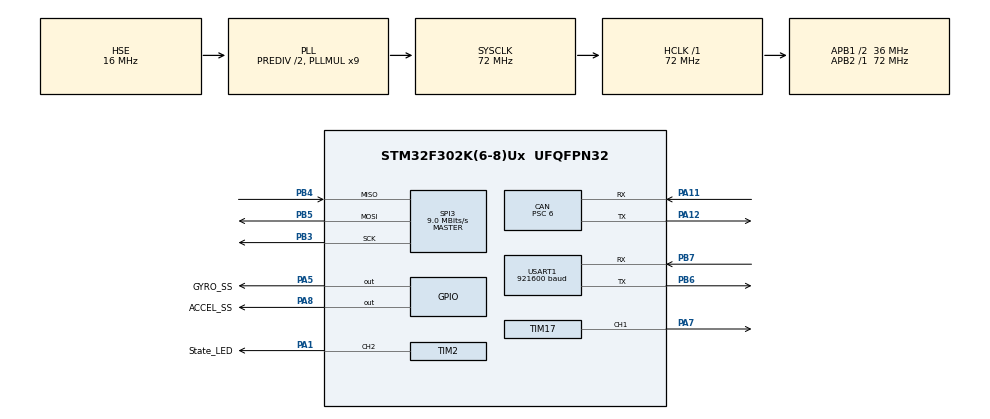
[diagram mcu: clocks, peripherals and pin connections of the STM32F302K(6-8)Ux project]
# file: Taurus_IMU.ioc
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CAN.ABOM=ENABLE
CAN.BS1=CAN_BS1_4TQ
CAN.CalculateTimeQuantum=166.66666666666669
CAN.Prescaler=6
Dma.Request0=USART1_RX
Dma.Request1=USART1_TX
Dma.USART1_RX.0.Direction=DMA_PERIPH_TO_MEMORY
Dma.USART1_RX.0.Instance=DMA1_Channel5
Dma.USART1_RX.0.MemDataAlignment=DMA_MDATAALIGN_BYTE
Dma.USART1_RX.0.MemInc=DMA_MINC_ENABLE
Dma.USART1_RX.0.Mode=DMA_NORMAL
Dma.USART1_RX.0.PeriphDataAlignment=DMA_PDATAALIGN_BYTE
Dma.USART1_RX.0.PeriphInc=DMA_PINC_DISABLE
Dma.USART1_RX.0.Priority=DMA_PRIORITY_LOW
Dma.USART1_TX.1.Direction=DMA_MEMORY_TO_PERIPH
Dma.USART1_TX.1.Instance=DMA1_Channel4
Dma.USART1_TX.1.MemDataAlignment=DMA_MDATAALIGN_BYTE
Dma.USART1_TX.1.MemInc=DMA_MINC_ENABLE
Dma.USART1_TX.1.Mode=DMA_NORMAL
Dma.USART1_TX.1.PeriphDataAlignment=DMA_PDATAALIGN_BYTE
Dma.USART1_TX.1.PeriphInc=DMA_PINC_DISABLE
Dma.USART1_TX.1.Priority=DMA_PRIORITY_LOW
Mcu.Family=STM32F3
Mcu.Name=STM32F302K(6-8)Ux
Mcu.Package=UFQFPN32
NVIC.DMA1_Channel4_IRQn=true\:0\:0\:false\:false\:true\:false\:true
NVIC.DMA1_Channel5_IRQn=true\:0\:0\:false\:false\:true\:false\:true
NVIC.PriorityGroup=NVIC_PRIORITYGROUP_4
NVIC.TIM1_UP_TIM16_IRQn=true\:0\:0\:false\:false\:true\:true\:true
NVIC.TIM6_DAC_IRQn=true\:0\:0\:false\:false\:true\:false\:true
NVIC.TimeBase=TIM6_DAC_IRQn
NVIC.TimeBaseIP=TIM6
NVIC.USART1_IRQn=true\:0\:0\:false\:false\:true\:true\:true
NVIC.USB_HP_CAN_TX_IRQn=true\:0\:0\:false\:false\:true\:true\:true
PA1.GPIO_Label=State_LED
PA1.GPIO_Speed=GPIO_SPEED_FREQ_HIGH
PA1.Signal=S_TIM2_CH2
PA11.Mode=Master
PA11.Signal=CAN_RX
PA12.Mode=Master
PA12.Signal=CAN_TX
PA13.Mode=Serial_Wire
PA13.Signal=SYS_JTMS-SWDIO
PA14.Mode=Serial_Wire
PA14.Signal=SYS_JTCK-SWCLK
PA5.GPIO_Label=GYRO_SS
PA5.GPIO_ModeDefaultOutputPP=GPIO_MODE_OUTPUT_PP
PA5.GPIO_Speed=GPIO_SPEED_FREQ_HIGH
PA5.PinState=GPIO_PIN_SET
PA5.Signal=GPIO_Output
PA7.Signal=S_TIM17_CH1
PA8.GPIO_Label=ACCEL_SS
PA8.GPIO_Speed=GPIO_SPEED_FREQ_HIGH
PA8.PinState=GPIO_PIN_SET
PA8.Signal=GPIO_Output
PB3.Mode=Full_Duplex_Master
PB3.Signal=SPI3_SCK
PB4.Mode=Full_Duplex_Master
PB4.Signal=SPI3_MISO
PB5.Mode=Full_Duplex_Master
PB5.Signal=SPI3_MOSI
PB6.Mode=Asynchronous
PB6.Signal=USART1_TX
PB7.Mode=Asynchronous
PB7.Signal=USART1_RX
PF0-OSC_IN.Mode=HSE-External-Oscillator
PF0-OSC_IN.Signal=RCC_OSC_IN
PF1-OSC_OUT.Mode=HSE-External-Oscillator
PF1-OSC_OUT.Signal=RCC_OSC_OUT
ProjectManager.HeapSize=0x1000
ProjectManager.StackSize=0x600
ProjectManager.TargetToolchain=MDK-ARM V5
RCC.AHBFreq_Value=72000000
RCC.APB1CLKDivider=RCC_HCLK_DIV2
RCC.APB1Freq_Value=36000000
RCC.APB1TimFreq_Value=72000000
RCC.APB2Freq_Value=72000000
RCC.APB2TimFreq_Value=72000000
RCC.CortexFreq_Value=72000000
RCC.HCLKFreq_Value=72000000
RCC.HSE_VALUE=16000000
RCC.HSI_VALUE=8000000
RCC.PLLMUL=RCC_PLL_MUL9
RCC.PLLSourceVirtual=RCC_PLLSOURCE_HSE
RCC.RCC_PLLsource_Clock_Source_FROM_HSE=RCC_HSE_PREDIV_DIV2
RCC.SYSCLKFreq_VALUE=72000000
RCC.SYSCLKSourceVirtual=RCC_SYSCLKSOURCE_PLLCLK
RCC.USBFreq_Value=72000000
SH.S_TIM17_CH1.0=TIM17_CH1,PWM Generation1 CH1
SH.S_TIM2_CH2.0=TIM2_CH2,PWM Generation2 CH2
SPI3.BaudRatePrescaler=SPI_BAUDRATEPRESCALER_4
SPI3.CLKPhase=SPI_PHASE_1EDGE
SPI3.CLKPolarity=SPI_POLARITY_LOW
SPI3.CalculateBaudRate=9.0 MBits/s
SPI3.DataSize=SPI_DATASIZE_16BIT
SPI3.Direction=SPI_DIRECTION_2LINES
SPI3.FirstBit=SPI_FIRSTBIT_MSB
SPI3.Mode=SPI_MODE_MASTER
SPI3.VirtualType=VM_MASTER
TIM1.Period=1000
TIM1.Prescaler=72
TIM16.AutoReloadPreload=TIM_AUTORELOAD_PRELOAD_ENABLE
TIM16.Period=999
TIM16.Prescaler=71
TIM17.Channel=TIM_CHANNEL_1
TIM17.Period=999
TIM17.Prescaler=71
TIM2.Channel-PWM\ Generation2\ CH2=TIM_CHANNEL_2
TIM2.Period=999
TIM2.Prescaler=71
USART1.BaudRate=921600
USART1.VirtualMode-Asynchronous=VM_ASYNC
VP_SYS_VS_tim6.Mode=TIM6
VP_TIM16_VS_ClockSourceINT.Mode=Enable_Timer
VP_TIM17_VS_ClockSourceINT.Mode=Enable_Timer
VP_TIM1_VS_ClockSourceINT.Mode=Internal
VP_TIM2_VS_ClockSourceINT.Mode=Internal
board=custom

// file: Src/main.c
/* USER CODE BEGIN Header */
/**
  ******************************************************************************
  * @project        : Taurus_IMU
	* @version        : 3.0
	* @date 					: 2020.1.5
	*	@author 				: YY
  ******************************************************************************
  * @attention
  *													    !!! READ ME !!!

  * This project is the driving algorithm of attitude sensor developed by Taurus.
	* Only for Taurus research & development and learning.
	* Without Taurus permission is forbidden to gaiden ! ! !
  *
  * This version is a transitional version and has not yet been fully developed.
  * This version needs to be used with the WT901.
  * Palstance is provided by BMI088 and Angle is provided by WT901.
  * The palstance update frequency is 1000 hz and the Angle update frequency is 200 hz.
  *	Both of them communicate with the master controller through the can bus.
  *
	*	Any enquiry please contact us directly!
	*
	*																								South China Agricultural University
	*																														 RoboMaster
	*																															 Taurus
  ******************************************************************************
  */
/* USER CODE END Header */

#include "main.h"
#include "can.h"
#include "dma.h"
#include "spi.h"
#include "tim.h"
#include "usart.h"
#include "gpio.h"

/* USER CODE BEGIN Includes */
#include "bsp_spi.h"
#include "bsp_iic.h"
#include "bsp_uart.h"
#include "bsp_can.h"
#include "bsp_delay.h"
#include "bsp_bmi088.h"
//#include "bsp_ist8310.h"
#include "Filter.h"
#include "Calibration.h"
#include "Status_Task.h"
#include "IMU_AHRSupdate.h"
#include "KalmanFilter.h"
#include "Comm_task.h"
#include "bsp_flash.h"
#include "bsp_dwt.h"
/* USER CODE END Includes */

void SystemClock_Config(void);

/* USER CODE BEGIN 0 */
float test1;
float test2;

/* USER CODE END 0 */

int main(void)
{

  /* MCU Configuration--------------------------------------------------------*/

  /* Reset of all peripherals, Initializes the Flash interface and the Systick. */
  HAL_Init();

  /* Configure the system clock */
  SystemClock_Config();

  /* Initialize all configured peripherals */
  MX_GPIO_Init();
  MX_DMA_Init();
  MX_SPI3_Init();
  MX_CAN_Init();
  MX_TIM16_Init();
  MX_USART1_UART_Init();
  MX_TIM17_Init();
  MX_TIM1_Init();
  MX_TIM2_Init();
  /* USER CODE BEGIN 2 */
    Data_Not_Ready();	//数据未就绪状态
    //HAL_Delay(500);
    IIC_Soft_Init();
    user_uart_init();
    can_device_init();
    DWT_Init(72);
    //HAL_Delay(200);
    BMI088_Init();
    //IST8310_Init();
    BMI088_original_data_read();
    if(imu_org_data.Accel.X == 0) {
        BMI088_Init();
    }
    Butterworth_Parameter_Init();
    flash_read(BIAS_GYRO_X_ADDRESS,&Bias.Gyro.X);
    flash_read(BIAS_GYRO_Y_ADDRESS,&Bias.Gyro.Y);
    flash_read(BIAS_GYRO_Z_ADDRESS,&Bias.Gyro.Z);
    flash_read(BIAS_INIT_TEMPTURE,&calibration_temperature);
    Bias.Gyro.init_z = Bias.Gyro.Z;
    Kalman_init();
    HAL_TIM_Base_Start_IT(&htim1);
    HAL_TIM_Base_Start_IT(&htim16);
    HAL_TIM_Base_Start_IT(&htim17);
    HAL_Delay(300);
    Data_Ready();
  /* USER CODE END 2 */

  /* Infinite loop */
  while (1)
  {

    /* USER CODE BEGIN 3 */
        status_task();
        HAL_Delay(1);
  }
  /* USER CODE END 3 */
}

void SystemClock_Config(void)
{
  RCC_OscInitTypeDef RCC_OscInitStruct = {0};
  RCC_ClkInitTypeDef RCC_ClkInitStruct = {0};
  RCC_PeriphCLKInitTypeDef PeriphClkInit = {0};

  /** Initializes the CPU, AHB and APB busses clocks
  */
  RCC_OscInitStruct.OscillatorType = RCC_OSCILLATORTYPE_HSE;
  RCC_OscInitStruct.HSEState = RCC_HSE_ON;
  RCC_OscInitStruct.HSEPredivValue = RCC_HSE_PREDIV_DIV2;
  RCC_OscInitStruct.HSIState = RCC_HSI_ON;
  RCC_OscInitStruct.PLL.PLLState = RCC_PLL_ON;
  RCC_OscInitStruct.PLL.PLLSource = RCC_PLLSOURCE_HSE;
  RCC_OscInitStruct.PLL.PLLMUL = RCC_PLL_MUL9;
  if (HAL_RCC_OscConfig(&RCC_OscInitStruct) != HAL_OK)
  {
    Error_Handler();
  }
  /** Initializes the CPU, AHB and APB busses clocks
  */
  RCC_ClkInitStruct.ClockType = RCC_CLOCKTYPE_HCLK|RCC_CLOCKTYPE_SYSCLK
                              |RCC_CLOCKTYPE_PCLK1|RCC_CLOCKTYPE_PCLK2;
  RCC_ClkInitStruct.SYSCLKSource = RCC_SYSCLKSOURCE_PLLCLK;
  RCC_ClkInitStruct.AHBCLKDivider = RCC_SYSCLK_DIV1;
  RCC_ClkInitStruct.APB1CLKDivider = RCC_HCLK_DIV2;
  RCC_ClkInitStruct.APB2CLKDivider = RCC_HCLK_DIV1;

  if (HAL_RCC_ClockConfig(&RCC_ClkInitStruct, FLASH_LATENCY_2) != HAL_OK)
  {
    Error_Handler();
  }
  PeriphClkInit.PeriphClockSelection = RCC_PERIPHCLK_USART1|RCC_PERIPHCLK_TIM1
                              |RCC_PERIPHCLK_TIM16|RCC_PERIPHCLK_TIM17;
  PeriphClkInit.Usart1ClockSelection = RCC_USART1CLKSOURCE_PCLK1;
  PeriphClkInit.Tim1ClockSelection = RCC_TIM1CLK_HCLK;
  PeriphClkInit.Tim16ClockSelection = RCC_TIM16CLK_HCLK;
  PeriphClkInit.Tim17ClockSelection = RCC_TIM17CLK_HCLK;
  if (HAL_RCCEx_PeriphCLKConfig(&PeriphClkInit) != HAL_OK)
  {
    Error_Handler();
  }
}

void HAL_TIM_PeriodElapsedCallback(TIM_HandleTypeDef *htim)
{
  if (htim->Instance == TIM6) {
    HAL_IncTick();
  }
  /* USER CODE BEGIN Callback 1 */
    if(htim->Instance==TIM1) {
        BMI_Read();
        IMU_AHRSupdate_task();
	}
	else if(htim->Instance==TIM16) {
        can_msg_send_task();
	}
  /* USER CODE END Callback 1 */
}

void Error_Handler(void)
{
}

/************************ (C) COPYRIGHT STMicroelectronics *****END OF FILE****/
